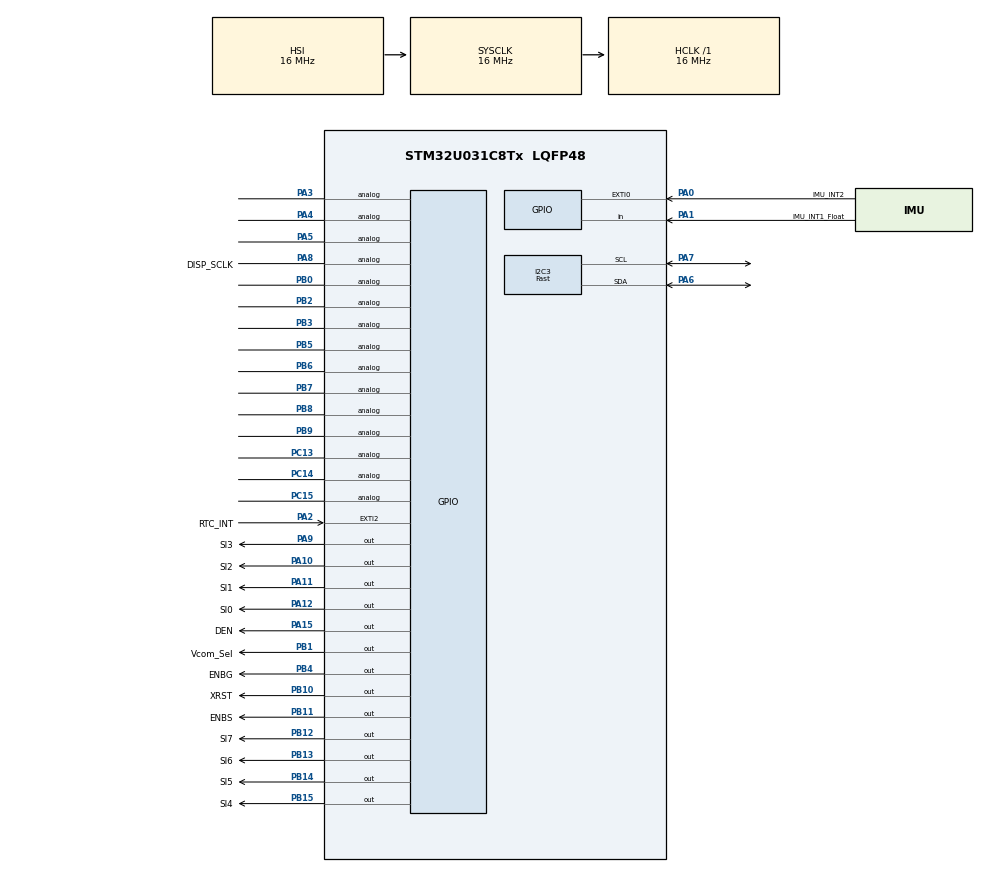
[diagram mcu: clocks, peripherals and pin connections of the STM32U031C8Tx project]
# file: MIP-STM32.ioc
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Dma.I2C3_RX.0.Direction=DMA_PERIPH_TO_MEMORY
Dma.I2C3_RX.0.EventEnable=DISABLE
Dma.I2C3_RX.0.Instance=DMA1_Channel1
Dma.I2C3_RX.0.MemDataAlignment=DMA_MDATAALIGN_BYTE
Dma.I2C3_RX.0.MemInc=DMA_MINC_ENABLE
Dma.I2C3_RX.0.Mode=DMA_NORMAL
Dma.I2C3_RX.0.PeriphDataAlignment=DMA_PDATAALIGN_BYTE
Dma.I2C3_RX.0.PeriphInc=DMA_PINC_DISABLE
Dma.I2C3_RX.0.Polarity=HAL_DMAMUX_REQ_GEN_RISING
Dma.I2C3_RX.0.Priority=DMA_PRIORITY_LOW
Dma.I2C3_RX.0.RequestNumber=1
Dma.I2C3_RX.0.SignalID=NONE
Dma.I2C3_RX.0.SyncEnable=DISABLE
Dma.I2C3_RX.0.SyncPolarity=HAL_DMAMUX_SYNC_NO_EVENT
Dma.I2C3_RX.0.SyncRequestNumber=1
Dma.I2C3_RX.0.SyncSignalID=NONE
Dma.Request0=I2C3_RX
I2C3.I2C_Speed_Mode=I2C_Fast
I2C3.Speed=400
I2C3.Timing=0x0010061A
Mcu.Family=STM32U0
Mcu.Name=STM32U031C8Tx
Mcu.Package=LQFP48
NVIC.DMA1_Channel1_IRQn=true\:0\:0\:false\:false\:true\:false\:true\:true
NVIC.EXTI0_1_IRQn=true\:0\:0\:false\:false\:true\:true\:true\:true
NVIC.EXTI2_3_IRQn=true\:0\:0\:false\:false\:true\:true\:true\:true
NVIC.I2C2_3_IRQn=true\:0\:0\:false\:false\:true\:true\:true\:true
NVIC.PriorityGroup=NVIC_PRIORITYGROUP_2
PA0.GPIO_Label=IMU_INT2
PA0.Signal=GPXTI0
PA1.GPIO_Label=IMU_INT1_Float
PA1.GPIO_PuPd=GPIO_PULLDOWN
PA1.Signal=GPIO_Input
PA10.GPIO_Label=SI2
PA10.Signal=GPIO_Output
PA11\ [PA9].GPIO_Label=SI1
PA11\ [PA9].Signal=GPIO_Output
PA12\ [PA10].GPIO_Label=SI0
PA12\ [PA10].Signal=GPIO_Output
PA13\ (SWDIO).GPIO_Label=DBG_SWDIO
PA13\ (SWDIO).Mode=Serial_Wire
PA13\ (SWDIO).Signal=DEBUG_JTMS-SWDIO
PA14\ (SWCLK).GPIO_Label=DBG_SWCLK
PA14\ (SWCLK).Mode=Serial_Wire
PA14\ (SWCLK).Signal=DEBUG_JTCK-SWCLK
PA15.GPIO_Label=DEN
PA15.Signal=GPIO_Output
PA2.GPIO_Label=RTC_INT
PA2.GPIO_ModeDefaultEXTI=GPIO_MODE_IT_FALLING
PA2.Signal=GPXTI2
PA3.Signal=GPIO_Analog
PA4.Signal=GPIO_Analog
PA5.Signal=GPIO_Analog
PA6.Mode=I2C
PA6.Signal=I2C3_SDA
PA7.Mode=I2C
PA7.Signal=I2C3_SCL
PA8.GPIO_Label=DISP_SCLK
PA8.Signal=GPIO_Analog
PA9.GPIO_Label=SI3
PA9.Signal=GPIO_Output
PB0.Signal=GPIO_Analog
PB1.GPIO_Label=Vcom_Sel
PB1.Signal=GPIO_Output
PB10.GPIO_Label=XRST
PB10.Signal=GPIO_Output
PB11.GPIO_Label=ENBS
PB11.Signal=GPIO_Output
PB12.GPIO_Label=SI7
PB12.Signal=GPIO_Output
PB13.GPIO_Label=SI6
PB13.Signal=GPIO_Output
PB14.GPIO_Label=SI5
PB14.Signal=GPIO_Output
PB15.GPIO_Label=SI4
PB15.Signal=GPIO_Output
PB2.Signal=GPIO_Analog
PB3.Signal=GPIO_Analog
PB4.GPIO_Label=ENBG
PB4.Signal=GPIO_Output
PB5.Signal=GPIO_Analog
PB6.Signal=GPIO_Analog
PB7.Signal=GPIO_Analog
PB8.Signal=GPIO_Analog
PB9.Signal=GPIO_Analog
PC13.Signal=GPIO_Analog
PC14-OSC32_IN.Signal=GPIO_Analog
PC15-OSC32_OUT.Signal=GPIO_Analog
PF0-OSC_IN.Signal=RCC_OSC_IN
PF1-OSC_OUT.Signal=RCC_OSC_OUT
PWR.PowerMode=PWR_SMPS_SUPPLY
ProjectManager.HeapSize=0x200
ProjectManager.StackSize=0x400
ProjectManager.TargetToolchain=STM32CubeIDE
RCC.ADCFreq_Value=16000000
RCC.AHBFreq_Value=16000000
RCC.CortexFreq_Value=16000000
RCC.HCLKFreq_Value=16000000
RCC.HSE_VALUE=16000000
RCC.HSI48_VALUE=48000000
RCC.HSI_VALUE=16000000
RCC.I2C3CLockSelection=RCC_I2C3CLKSOURCE_HSI
RCC.LSE_VALUE=32768
RCC.MSIClockRangeVal=RCC_MSIRANGE_4
RCC.MSI_VALUE=1000000
RCC.PLLN=6
RCC.PLLR=RCC_PLLR_DIV8
RCC.RCC_MCO1Source=RCC_MCO1SOURCE_HSE
RCC.RCC_MCO2Div=RCC_MCO2DIV_32
RCC.SYSCLKFreq_VALUE=16000000
RCC.VCOOutputFreq_Value=96000000
VP_PWR_VS_LPOM.Mode=PowerOptimisation
VP_PWR_VS_SECSignals.Mode=Security/Privilege
board=custom

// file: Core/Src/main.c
/* USER CODE BEGIN Header */
/**
  ******************************************************************************
  * @file           : main.c
  * @brief          : Main program body
  ******************************************************************************
  * @attention
  *
  * Copyright (c) 2025 STMicroelectronics.
  * All rights reserved.
  *
  * This software is licensed under terms that can be found in the LICENSE file
  * in the root directory of this software component.
  * If no LICENSE file comes with this software, it is provided AS-IS.
  *
  ******************************************************************************
  */
/* USER CODE END Header */
#include "main.h"

/* USER CODE BEGIN Includes */
#include "lsm6dsr_reg.h"
#include "max31331_reg.h"

#include <stdio.h>
/* USER CODE END Includes */

I2C_HandleTypeDef hi2c3;
DMA_HandleTypeDef hdma_i2c3_rx;

/* USER CODE BEGIN PV */
/* ============== I2C Variables ============== */
typedef struct {
  I2C_HandleTypeDef *i2c;
  uint16_t addr_8bit;   // 7-bit I2C address (unshifted)
} i2c_dev_t;

static stmdev_ctx_t   s_lsm_ctx;
static max31331_ctx_t s_max_ctx;

static i2c_dev_t g_imu_bus = {
  .i2c = &hi2c3,
  .addr_8bit = (LSM6DSR_I2C_ADD_L)
};

static i2c_dev_t g_rtc_bus = {
  .i2c = &hi2c3,
  .addr_8bit = (MAX31331_I2C_ADD)
};

/* ============== JOB QUEUE VARIABLES ============== */
#define QUEUE_SIZE 16

typedef struct {
    int data[QUEUE_SIZE];
    int front;
    int rear;
    int count;
} JobQueue;

enum JobTypes {
  stepJob = 0,
  tapJob  = 1,
  timeJob = 2
};

volatile JobQueue jobQueue;
volatile uint8_t tapsInQueue = 0;
volatile uint8_t stepsInQueue = 0;
volatile uint8_t timeInQueue = 0;

volatile uint8_t DMArunning = 0;
volatile uint8_t TickDMAflag = 0;
volatile uint8_t TickRXcomp = 0;
volatile uint8_t TapDMAflag = 0;
volatile uint8_t TapRXcomp = 0;
volatile uint8_t StepDMAflag = 0;
volatile uint8_t StepRXcomp = 0;

/* ============== IMU VARIABLES ============== */
// Min # of steps before interrupts
#define STEP_DEBOUNCE_THRESHOLD 8
// DMA RX buffers
uint8_t s_step_rx_buf[2];
uint8_t s_tap_rx_buf[1];
/* Tracked values */
static volatile uint16_t g_step_count = 0;
static volatile uint16_t g_num_taps = 0;

/* ============== RTC VARIABLES ============== */
static uint8_t s_rtc_rx_buf[8];
static uint8_t g_RTC_time[8];

/* ============== Interrupt Setup ============== */
#define IMU_INT1_Pin            GPIO_PIN_1
#define IMU_INT1_GPIO_Port      GPIOA

#define IMU_INT2_Pin 			GPIO_PIN_0
#define IMU_INT2_GPIO_Port 		GPIOA

#define RTC_INT_Pin 			GPIO_PIN_2
#define RTC_INT_GPIO_Port 		GPIOA

#define I2C3_SCL_PIN 			GPIO_PIN_7
#define I2C3_SDA_PIN 			GPIO_PIN_6
#define I2C3_PORT 				GPIOA

static uint8_t inStopMode  = 0;
static uint8_t inSleepMode = 0;
static uint8_t inLPRunMode = 0;
/* USER CODE END PV */

void SystemClock_Config(void);
static void MX_GPIO_Init(void);
static void MX_DMA_Init(void);
static void MX_I2C3_Init(void);
/* USER CODE BEGIN PFP */
/* ============== JOB QUEUE FUNCTIONS ============== */
void initJobQueue(volatile JobQueue *q);
int isJobsEmpty(volatile JobQueue *q);
int isJobsFull(volatile JobQueue *q);
int enqueueJob(volatile JobQueue *q, int value);
int dequeueJob(volatile JobQueue *q, int *value);
static void startJob(int job);
static void processJob(void);
int job = 5;

/* ============== I2C DEVICE FUNCTIONS ============== */
static int32_t platform_write(void *handle, uint8_t reg, const uint8_t *bufp, uint16_t len);
static int32_t platform_read (void *handle, uint8_t reg, uint8_t *bufp, uint16_t len);
static void clear_I2C_bus(void);

/* ============== LP-Run modes ============== */
void Enter_LowPowerRunMode(void);
void Exit_LowPowerRunMode(void);

/* ============== I2C DEVICE INIT FUNCTIONS ============== */
static void LSM6DSR_Init(void);
static void LSM6DSR_Init_Tap_INT2(void);
static void LSM6DSR_Init_Pedo_INT2(void);
static void MAX31331_Init(void);
/* USER CODE END PFP */

int main(void)
{

  /* MCU Configuration--------------------------------------------------------*/

  /* Reset of all peripherals, Initializes the Flash interface and the Systick. */
  HAL_Init();

  /* USER CODE BEGIN Init */
//   reconfigure_interupts(0); // Configure IMU interrupt pins as GPIO outputs set to 0
//   __HAL_RCC_GPIOA_CLK_ENABLE();
  clear_I2C_bus();
  /* USER CODE END Init */

  /* Configure the system clock */
  SystemClock_Config();

  /* Initialize all configured peripherals */
  MX_GPIO_Init();
  MX_DMA_Init();
  MX_I2C3_Init();
  /* USER CODE BEGIN 2 */

  tapsInQueue = 0;
  stepsInQueue = 0;
  timeInQueue = 0;

  DMArunning 	= 0;
  TickDMAflag 	= 0;
  TickRXcomp 	= 0;

  TapDMAflag 	= 0;
  TapRXcomp 	= 0;

  StepDMAflag 	= 0;
  StepRXcomp 	= 0;

  inStopMode  = 0;
  inSleepMode = 0;

  LSM6DSR_Init();
//   reconfigure_interupts(1); // Configure IMU interrupt pins as EXTI

  MAX31331_Init();

  initJobQueue(&jobQueue);

  HAL_Delay(1000); // Prevent immediate stop/sleep mode entry

  Enter_LowPowerRunMode(); // Sets SysClk Source to MSI @ 1MHz
  /* USER CODE END 2 */

  /* Infinite loop */
  while (1)
  {

    /* USER CODE BEGIN 3 */

//    HAL_Delay(1);

    // Parse data from complete jobs
    processJob();

    // If DMA is free and job queue !empty, start job
    if(!DMArunning) {
    	if (dequeueJob(&jobQueue, &job)) { // If job in queue, start it
    		startJob(job);
    	} else {// else job queue is empty, go back to STOP mode while we wait for next interrupt
    		inStopMode = 1;
    		HAL_SuspendTick();
    		HAL_PWREx_EnterSTOP2Mode(PWR_STOPENTRY_WFI);

    		HAL_ResumeTick();
    		inStopMode = 0;
	   }
    } else {// Waiting for DMA to finish, go back to SLEEP mode while we wait for I2C callback
	 	inSleepMode = 1;
	 	HAL_SuspendTick();
	 	HAL_PWR_EnterSLEEPMode(PWR_MAINREGULATOR_ON,PWR_SLEEPENTRY_WFI);

	 	HAL_ResumeTick();
	 	inSleepMode = 0;
	 }
  }
  /* USER CODE END 3 */
}

void SystemClock_Config(void)
{
  RCC_OscInitTypeDef RCC_OscInitStruct = {0};
  RCC_ClkInitTypeDef RCC_ClkInitStruct = {0};

  /** Configure the main internal regulator output voltage
  */
  HAL_PWREx_ControlVoltageScaling(PWR_REGULATOR_VOLTAGE_SCALE2);

  /** Initializes the RCC Oscillators according to the specified parameters
  * in the RCC_OscInitTypeDef structure.
  */
  RCC_OscInitStruct.OscillatorType = RCC_OSCILLATORTYPE_HSI;
  RCC_OscInitStruct.HSIState = RCC_HSI_ON;
  RCC_OscInitStruct.HSICalibrationValue = RCC_HSICALIBRATION_DEFAULT;
  RCC_OscInitStruct.PLL.PLLState = RCC_PLL_NONE;
  if (HAL_RCC_OscConfig(&RCC_OscInitStruct) != HAL_OK)
  {
    Error_Handler();
  }

  /** Initializes the CPU, AHB and APB buses clocks
  */
  RCC_ClkInitStruct.ClockType = RCC_CLOCKTYPE_HCLK|RCC_CLOCKTYPE_SYSCLK
                              |RCC_CLOCKTYPE_PCLK1;
  RCC_ClkInitStruct.SYSCLKSource = RCC_SYSCLKSOURCE_HSI;
  RCC_ClkInitStruct.AHBCLKDivider = RCC_SYSCLK_DIV1;
  RCC_ClkInitStruct.APB1CLKDivider = RCC_HCLK_DIV1;

  if (HAL_RCC_ClockConfig(&RCC_ClkInitStruct, FLASH_LATENCY_1) != HAL_OK)
  {
    Error_Handler();
  }
}

static void MX_I2C3_Init(void)
{

  hi2c3.Instance = I2C3;
  hi2c3.Init.Timing = 0x0010061A;
  hi2c3.Init.OwnAddress1 = 0;
  hi2c3.Init.AddressingMode = I2C_ADDRESSINGMODE_7BIT;
  hi2c3.Init.DualAddressMode = I2C_DUALADDRESS_DISABLE;
  hi2c3.Init.OwnAddress2 = 0;
  hi2c3.Init.OwnAddress2Masks = I2C_OA2_NOMASK;
  hi2c3.Init.GeneralCallMode = I2C_GENERALCALL_DISABLE;
  hi2c3.Init.NoStretchMode = I2C_NOSTRETCH_DISABLE;
  if (HAL_I2C_Init(&hi2c3) != HAL_OK)
  {
    Error_Handler();
  }

  /** Configure Analogue filter
  */
  if (HAL_I2CEx_ConfigAnalogFilter(&hi2c3, I2C_ANALOGFILTER_ENABLE) != HAL_OK)
  {
    Error_Handler();
  }

  /** Configure Digital filter
  */
  if (HAL_I2CEx_ConfigDigitalFilter(&hi2c3, 0) != HAL_OK)
  {
    Error_Handler();
  }

}

static void MX_DMA_Init(void)
{

  /* DMA controller clock enable */
  __HAL_RCC_DMA1_CLK_ENABLE();

  /* DMA interrupt init */
  /* DMA1_Channel1_IRQn interrupt configuration */
  HAL_NVIC_SetPriority(DMA1_Channel1_IRQn, 0, 0);
  HAL_NVIC_EnableIRQ(DMA1_Channel1_IRQn);

}

static void MX_GPIO_Init(void)
{
  GPIO_InitTypeDef GPIO_InitStruct = {0};

  /* GPIO Ports Clock Enable */
  __HAL_RCC_GPIOC_CLK_ENABLE();
  __HAL_RCC_GPIOF_CLK_ENABLE();
  __HAL_RCC_GPIOA_CLK_ENABLE();
  __HAL_RCC_GPIOB_CLK_ENABLE();

  /*Configure GPIO pin Output Level */
  HAL_GPIO_WritePin(GPIOB, Vcom_Sel_Pin|XRST_Pin|ENBS_Pin|SI7_Pin
                          |SI6_Pin|SI5_Pin|SI4_Pin|ENBG_Pin, GPIO_PIN_RESET);

  /*Configure GPIO pin Output Level */
  HAL_GPIO_WritePin(GPIOA, SI3_Pin|SI2_Pin|SI1_Pin|SI0_Pin
                          |DEN_Pin, GPIO_PIN_RESET);

  /*Configure GPIO pins : PC13 PC14 PC15 */
  GPIO_InitStruct.Pin = GPIO_PIN_13|GPIO_PIN_14|GPIO_PIN_15;
  GPIO_InitStruct.Mode = GPIO_MODE_ANALOG;
  GPIO_InitStruct.Pull = GPIO_NOPULL;
  HAL_GPIO_Init(GPIOC, &GPIO_InitStruct);

  /*Configure GPIO pin : IMU_INT2_Pin */
  GPIO_InitStruct.Pin = IMU_INT2_Pin;
  GPIO_InitStruct.Mode = GPIO_MODE_IT_RISING;
  GPIO_InitStruct.Pull = GPIO_NOPULL;
  HAL_GPIO_Init(IMU_INT2_GPIO_Port, &GPIO_InitStruct);

  /*Configure GPIO pin : IMU_INT1_Float_Pin */
  GPIO_InitStruct.Pin = IMU_INT1_Float_Pin;
  GPIO_InitStruct.Mode = GPIO_MODE_INPUT;
  GPIO_InitStruct.Pull = GPIO_PULLDOWN;
  HAL_GPIO_Init(IMU_INT1_Float_GPIO_Port, &GPIO_InitStruct);

  /*Configure GPIO pin : RTC_INT_Pin */
  GPIO_InitStruct.Pin = RTC_INT_Pin;
  GPIO_InitStruct.Mode = GPIO_MODE_IT_FALLING;
  GPIO_InitStruct.Pull = GPIO_NOPULL;
  HAL_GPIO_Init(RTC_INT_GPIO_Port, &GPIO_InitStruct);

  /*Configure GPIO pins : PA3 PA4 PA5 DISP_SCLK_Pin */
  GPIO_InitStruct.Pin = GPIO_PIN_3|GPIO_PIN_4|GPIO_PIN_5|DISP_SCLK_Pin;
  GPIO_InitStruct.Mode = GPIO_MODE_ANALOG;
  GPIO_InitStruct.Pull = GPIO_NOPULL;
  HAL_GPIO_Init(GPIOA, &GPIO_InitStruct);

  /*Configure GPIO pins : PB0 PB2 PB3 PB5
                           PB6 PB7 PB8 PB9 */
  GPIO_InitStruct.Pin = GPIO_PIN_0|GPIO_PIN_2|GPIO_PIN_3|GPIO_PIN_5
                          |GPIO_PIN_6|GPIO_PIN_7|GPIO_PIN_8|GPIO_PIN_9;
  GPIO_InitStruct.Mode = GPIO_MODE_ANALOG;
  GPIO_InitStruct.Pull = GPIO_NOPULL;
  HAL_GPIO_Init(GPIOB, &GPIO_InitStruct);

  /*Configure GPIO pins : Vcom_Sel_Pin XRST_Pin ENBS_Pin SI7_Pin
                           SI6_Pin SI5_Pin SI4_Pin ENBG_Pin */
  GPIO_InitStruct.Pin = Vcom_Sel_Pin|XRST_Pin|ENBS_Pin|SI7_Pin
                          |SI6_Pin|SI5_Pin|SI4_Pin|ENBG_Pin;
  GPIO_InitStruct.Mode = GPIO_MODE_OUTPUT_PP;
  GPIO_InitStruct.Pull = GPIO_NOPULL;
  GPIO_InitStruct.Speed = GPIO_SPEED_FREQ_LOW;
  HAL_GPIO_Init(GPIOB, &GPIO_InitStruct);

  /*Configure GPIO pins : SI3_Pin SI2_Pin SI1_Pin SI0_Pin
                           DEN_Pin */
  GPIO_InitStruct.Pin = SI3_Pin|SI2_Pin|SI1_Pin|SI0_Pin
                          |DEN_Pin;
  GPIO_InitStruct.Mode = GPIO_MODE_OUTPUT_PP;
  GPIO_InitStruct.Pull = GPIO_NOPULL;
  GPIO_InitStruct.Speed = GPIO_SPEED_FREQ_LOW;
  HAL_GPIO_Init(GPIOA, &GPIO_InitStruct);

  /* EXTI interrupt init*/
  HAL_NVIC_SetPriority(EXTI0_1_IRQn, 0, 0);
  HAL_NVIC_EnableIRQ(EXTI0_1_IRQn);

  HAL_NVIC_SetPriority(EXTI2_3_IRQn, 0, 0);
  HAL_NVIC_EnableIRQ(EXTI2_3_IRQn);

}

/* USER CODE BEGIN 4 */
/* ============== JOB QUEUE ============== */
void initJobQueue(volatile JobQueue *q) {
    q->front = 0;
    q->rear = -1;
    q->count = 0;
}

int isJobsEmpty(volatile JobQueue *q) {
    return q->count == 0;
}

int isJobsFull(volatile JobQueue *q) {
    return q->count == QUEUE_SIZE;
}

int enqueueJob(volatile JobQueue *q, int value){
	if (isJobsFull(q)) {
        // printf("Queue is full! Cannot enqueue %d\n", value);
        return 0;
    }

    q->rear = (q->rear + 1) % QUEUE_SIZE;
    q->data[q->rear] = value;
    q->count++;

    return 1;
}

int dequeueJob(volatile JobQueue *q, int *value){
	if (isJobsEmpty(q)) {
        // printf("Queue is empty! Cannot dequeue\n");
        return 0;
    }

    *value = q->data[q->front];
    q->front = (q->front + 1) % QUEUE_SIZE;
    q->count--;

    return 1;
}

// Start DMA read
static void startJob(int job)
{
	lsm6dsr_func_cfg_access_t func_cfg_access = {0};
	switch (job) {
		case stepJob:
      __disable_irq();
			if (stepsInQueue) stepsInQueue--;
      __enable_irq();
			func_cfg_access.reg_access = LSM6DSR_EMBEDDED_FUNC_BANK; // Enable standard register bank
			if (!HAL_I2C_Mem_Write(&hi2c3, LSM6DSR_I2C_ADD_L, LSM6DSR_FUNC_CFG_ACCESS, I2C_MEMADD_SIZE_8BIT, (uint8_t *)&func_cfg_access, 1, 5)) {
				DMArunning = 1;
				StepDMAflag = 1;
				HAL_I2C_Mem_Read_DMA(&hi2c3, LSM6DSR_I2C_ADD_L, LSM6DSR_STEP_COUNTER_L, I2C_MEMADD_SIZE_8BIT, s_step_rx_buf, 2);
			}
			break;
		case tapJob:
			__disable_irq();
      if (tapsInQueue) tapsInQueue--;
      __enable_irq();
			func_cfg_access.reg_access = LSM6DSR_USER_BANK; // Enable standard register bank
			if(!HAL_I2C_Mem_Write(&hi2c3, LSM6DSR_I2C_ADD_L, LSM6DSR_FUNC_CFG_ACCESS, I2C_MEMADD_SIZE_8BIT, (uint8_t *)&func_cfg_access, 1, 5)) {
				DMArunning = 1;
				TapDMAflag = 1;
				HAL_I2C_Mem_Read_DMA(&hi2c3, LSM6DSR_I2C_ADD_L, LSM6DSR_TAP_SRC, I2C_MEMADD_SIZE_8BIT, s_tap_rx_buf, 1);
			}
			break;
		case timeJob:
			__disable_irq();
			if (timeInQueue) timeInQueue--;
      __enable_irq();
			uint8_t status;
			max31331_get_status(&s_max_ctx, &status); // Clears interrupt
			DMArunning = 1;
			TickDMAflag = 1;
			HAL_I2C_Mem_Read_DMA(&hi2c3, MAX31331_I2C_ADD, MAX31331_SECONDS_1_128, I2C_MEMADD_SIZE_8BIT, s_rtc_rx_buf, 8); // Read sec_128 to year in one go
			break;
		default:
			break;
		// DMA started, we can go to sleep while we wait for I2C callback
	}
}

// Process DMA data
static void processJob(void) {
	if (TickRXcomp) { // Update Time
		uint8_t s128 = s_rtc_rx_buf[0]; // Unused for now
		uint8_t s  	 = bin2dec_bcd(s_rtc_rx_buf[1] & MAX31331_SECONDS_MSK);
		uint8_t m  	 = bin2dec_bcd(s_rtc_rx_buf[2] & MAX31331_MINUTES_MSK);
		uint8_t h  	 = s_rtc_rx_buf[3];

		uint8_t format  = (h & MAX31331_TS_F24_12_MSK) >> MAX31331_TS_F24_12_POS;

		int hour;

		if (format == HOUR24) {
			hour = ((h & MAX31331_HOURS_HOUR_MSK) 		>> MAX31331_HOURS_HOUR_POS) +
				   (((h & MAX31331_HOURS_HR10_MSK) 		>> MAX31331_HOURS_HR10_POS) * 10) +
				   (((h & MAX31331_HOURS_HR20_AMPM_MSK) >> MAX31331_HOURS_HR20_AMPM_POS) * 20);
		} else {
			uint8_t h12 = ((h & MAX31331_HOURS_HR10_MSK) >> MAX31331_HOURS_HR10_POS) * 10
						+ ((h & MAX31331_HOURS_HOUR_MSK) >> MAX31331_HOURS_HOUR_POS);
			uint8_t am_pm = (h & MAX31331_HOURS_HR20_AMPM_MSK) >> MAX31331_HOURS_HR20_AMPM_POS;
			if (am_pm == AM) {          // AM
				hour = (h12 == 12) ? 0 : h12;
			} else {                    // PM
				hour = (h12 == 12) ? 12 : h12 + 12;
			}
		}

		uint8_t dy 	 = s_rtc_rx_buf[4] & MAX31331_DAY_MSK;
		uint8_t dt 	 = bin2dec_bcd(s_rtc_rx_buf[5] & MAX31331_DATE_MSK);
		uint8_t mn 	 = bin2dec_bcd(s_rtc_rx_buf[6] & MAX31331_MONTH_MSK);
		uint8_t yr 	 = bin2dec_bcd(s_rtc_rx_buf[7] & MAX31331_YEAR_MSK);

		g_RTC_time[0] = s128;
		g_RTC_time[1] = s;
		g_RTC_time[2] = m;
		g_RTC_time[3] = hour;
		g_RTC_time[4] = dy;
		g_RTC_time[5] = dt;
		g_RTC_time[6] = mn;
		g_RTC_time[7] = yr;
		uint8_t status;
		max31331_get_status(&s_max_ctx, &status); // Clears interrupt

		TickRXcomp = 0;
	} else if (TapRXcomp) { // Handle Tap/DoubleTap
		lsm6dsr_tap_src_t *tap_data = (lsm6dsr_tap_src_t *)s_tap_rx_buf;
		if (tap_data->double_tap) {
			g_num_taps = 2;
		} else if (tap_data->single_tap) {
			g_num_taps = 1;
		} else {
			g_num_taps = 0;
		}

		TapRXcomp = 0;
	} else if (StepRXcomp) { // Update Step Count
		g_step_count = (uint16_t)s_step_rx_buf[1] << 8 | (uint16_t)s_step_rx_buf[0];
		StepRXcomp = 0;

	}
}

/* ============== I2C Device Initialization ============== */
static void clear_I2C_bus(void) {
	GPIO_InitTypeDef GPIO_InitStruct = {0};

    // Configure SCL/SDA as open-drain outputs
    GPIO_InitStruct.Pin = I2C3_SCL_PIN | I2C3_SDA_PIN;
    GPIO_InitStruct.Mode = GPIO_MODE_OUTPUT_OD;
    GPIO_InitStruct.Pull = GPIO_NOPULL;
    GPIO_InitStruct.Speed = GPIO_SPEED_FREQ_HIGH;
    HAL_GPIO_Init(I2C3_PORT, &GPIO_InitStruct);

    // Release both lines
    HAL_GPIO_WritePin(I2C3_PORT, I2C3_SDA_PIN | I2C3_SCL_PIN, GPIO_PIN_SET);
    HAL_Delay(1);

    // Toggle SCL while SDA is low
    for (int i = 0; i < 9 && HAL_GPIO_ReadPin(I2C3_PORT, I2C3_SDA_PIN) == GPIO_PIN_RESET; i++) {
        HAL_GPIO_WritePin(I2C3_PORT, I2C3_SCL_PIN, GPIO_PIN_SET);
        HAL_Delay(1); // 1 ms, can reduce to 5-10 us
        HAL_GPIO_WritePin(I2C3_PORT, I2C3_SCL_PIN, GPIO_PIN_RESET);
        HAL_Delay(1);
    }

    // Generate STOP condition
    HAL_GPIO_WritePin(I2C3_PORT, I2C3_SDA_PIN, GPIO_PIN_RESET);
    HAL_GPIO_WritePin(I2C3_PORT, I2C3_SCL_PIN, GPIO_PIN_SET);
    HAL_GPIO_WritePin(I2C3_PORT, I2C3_SDA_PIN, GPIO_PIN_SET);

    HAL_GPIO_DeInit(I2C3_PORT, I2C3_SCL_PIN | I2C3_SDA_PIN); // Return pins to default state
}

static void LSM6DSR_Init(void) {
	uint8_t rst = 1;
	uint8_t who = 0;

	// Platform initialization
	s_lsm_ctx.write_reg = platform_write;
	s_lsm_ctx.read_reg  = platform_read;
	s_lsm_ctx.mdelay    = HAL_Delay;
	s_lsm_ctx.handle    = &g_imu_bus;

	HAL_Delay(100); // Initial power-on delay

	// Perform software reset with proper timing
	do {
		if (lsm6dsr_reset_set(&s_lsm_ctx, 1) != 0) {
			Error_Handler();
		}
		HAL_Delay(50); // Extended delay for reset completion
	} while (lsm6dsr_reset_get(&s_lsm_ctx, &rst) != 0 || rst != 0);

	// Verify device ID with retries
	for (int attempt = 0; attempt < 10; attempt++) {
		if (lsm6dsr_device_id_get(&s_lsm_ctx, &who) == 0 && who == LSM6DSR_ID) {
			break;
		}
		HAL_Delay(20);
	}

	if (who != LSM6DSR_ID) {
		Error_Handler();
	}

	// Disable I3C interface
	if (lsm6dsr_i3c_disable_set(&s_lsm_ctx, LSM6DSR_I3C_DISABLE) != 0) {
		Error_Handler();
	}

	/* Disable I3C (Mode 1: IMU is I2C slave) */
	lsm6dsr_i3c_disable_set(&s_lsm_ctx, LSM6DSR_I3C_DISABLE);

	/* Put gyroscope into power-down */
	lsm6dsr_gy_data_rate_set(&s_lsm_ctx, LSM6DSR_GY_ODR_OFF);
	/* Gryo power mode should be irrelevant (set to normal for safe default) */
	lsm6dsr_gy_power_mode_set(&s_lsm_ctx, LSM6DSR_GY_NORMAL);
	/* BDU: Blocks of registers can't be updated mid-read */
	lsm6dsr_block_data_update_set(&s_lsm_ctx, 1);

	LSM6DSR_Init_Pedo_INT2();
	/* TAP detection overrides ODR to 416Hz, setting accel to high power mode */
	// LSM6DSR_Init_Tap_INT2();

	/* Configure pin mode/polarity */
	lsm6dsr_pin_mode_set(&s_lsm_ctx, LSM6DSR_PUSH_PULL);
	lsm6dsr_pin_polarity_set(&s_lsm_ctx, LSM6DSR_ACTIVE_HIGH);
	lsm6dsr_int_notification_set(&s_lsm_ctx, LSM6DSR_ALL_INT_PULSED);

}

// Pedometer Config based on Application Note 5358
static void LSM6DSR_Init_Pedo_INT2(void) {
	/* Pedometer works at accelerometer 2g Full Scale (STMicroelectronics/lsm6dsr-pid) */
	lsm6dsr_xl_full_scale_set(&s_lsm_ctx, LSM6DSR_4g);
	/* 6.1 Pedometer functions: ODR >= 26Hz for step counter*/
	lsm6dsr_xl_data_rate_set(&s_lsm_ctx, LSM6DSR_XL_ODR_26Hz);
	/* Low power mode works @ ODR <= 26Hz*/
	lsm6dsr_xl_power_mode_set(&s_lsm_ctx, LSM6DSR_LOW_NORMAL_POWER_MD);

	/* Enable pedometer with false-step rejection */
	lsm6dsr_pedo_sens_set(&s_lsm_ctx, PROPERTY_ENABLE);
	lsm6dsr_pedo_mode_set(&s_lsm_ctx, LSM6DSR_PEDO_ADV_FALSE_STEP_REJ);
	lsm6dsr_pedo_int_mode_set(&s_lsm_ctx, LSM6DSR_EVERY_STEP);
	lsm6dsr_steps_reset(&s_lsm_ctx);
	uint8_t debounce = STEP_DEBOUNCE_THRESHOLD;
	lsm6dsr_pedo_debounce_steps_set(&s_lsm_ctx, &debounce);

	/* Route Step Detector interrupt to INT1 */
	lsm6dsr_pin_int2_route_t int2_route;
	lsm6dsr_pin_int2_route_get(&s_lsm_ctx, &int2_route);
	int2_route.emb_func_int2.int2_step_detector = 1;
	lsm6dsr_pin_int2_route_set(&s_lsm_ctx, &int2_route);
}

// Tap Detection Config based on Application Note 5358
static void LSM6DSR_Init_Tap_INT2(void) {
	/* Accelerometer works at accelerometer 2g Full Scale*/
	lsm6dsr_xl_full_scale_set(&s_lsm_ctx, LSM6DSR_2g);
	/* 5.5 Single-tap and double-tap recognition: ODR >= 416Hz for tap detection*/
	lsm6dsr_xl_data_rate_set(&s_lsm_ctx, LSM6DSR_XL_ODR_416Hz);

	/* Enable tap detection on all axes */
	lsm6dsr_tap_detection_on_x_set(&s_lsm_ctx, 1);
	lsm6dsr_tap_detection_on_y_set(&s_lsm_ctx, 1);
	lsm6dsr_tap_detection_on_z_set(&s_lsm_ctx, 1);

	/* Use slope on internal path (recommended for taps) */
	lsm6dsr_xl_hp_path_internal_set(&s_lsm_ctx, LSM6DSR_USE_SLOPE);

	/* Thresholds: 0x0C -> ~0.75 g at FS=±2 g */
	lsm6dsr_tap_threshold_x_set(&s_lsm_ctx, 0x0C);
	lsm6dsr_tap_threshold_y_set(&s_lsm_ctx, 0x0C);
	lsm6dsr_tap_threshold_z_set(&s_lsm_ctx, 0x0C);

	/* Axis priority X->Y->Z */
	lsm6dsr_tap_axis_priority_set(&s_lsm_ctx, LSM6DSR_XYZ);

	/* Time windows at ODR_XL=416 Hz (approx):
	SHOCK=3 (~57.7 ms), QUIET=3 (~28.8 ms), DUR=7 (~538.5 ms) */
	lsm6dsr_tap_shock_set(&s_lsm_ctx, 0x03);
	lsm6dsr_tap_quiet_set(&s_lsm_ctx, 0x03);
	lsm6dsr_tap_dur_set(&s_lsm_ctx, 0x07);

	/* Enable both single & double tap recognition */
	lsm6dsr_tap_mode_set(&s_lsm_ctx, LSM6DSR_BOTH_SINGLE_DOUBLE);

	/* Route interrupts to INT2 */
	lsm6dsr_pin_int2_route_t int2_route;
	lsm6dsr_pin_int2_route_get(&s_lsm_ctx, &int2_route);
	int2_route.md2_cfg.int2_single_tap = 1;
	int2_route.md2_cfg.int2_double_tap = 1;
	lsm6dsr_pin_int2_route_set(&s_lsm_ctx, &int2_route);
}

static void MAX31331_Init(void) {
	uint8_t seconds = 0;
	uint8_t minutes = 0;
	uint8_t hours   = 14;  // Example: 2PM
	uint8_t day     = 3;   // WEDNESDAY
	uint8_t date    = 27;  // 27th
	uint8_t month   = 8;   // January
	uint8_t year    = 25;  // Year = 2025 (last two digits)
	uint8_t century = 0;   // 0 = 21st century, 1 = 22nd century

	s_max_ctx.write_reg = platform_write;
	s_max_ctx.read_reg  = platform_read;
	s_max_ctx.mdelay    = HAL_Delay;
	s_max_ctx.handle    = &g_rtc_bus;

	HAL_Delay(20);

	max31331_reset_rtc(&s_max_ctx);
	HAL_Delay(5);

	max31331_set_time(&s_max_ctx, seconds, minutes, hours);
	seconds 	= 0xFF;
	minutes 	= 0xFF;
	hours   	= 0xFF;
	uint8_t format 	= 0xFF;
	HAL_Delay(5);

	max31331_get_time(&s_max_ctx, &seconds, &minutes, &hours, &format);
	HAL_Delay(5);

	max31331_set_date(&s_max_ctx, day, date, month, century, year);
	day     = 0xFF;
	date    = 0xFF;
	month   = 0xFF;
	year    = 0xFF;
	century = 0xFF;
	HAL_Delay(5);

	max31331_get_date(&s_max_ctx, &day, &date, &month, &century, &year);
	HAL_Delay(5);

	// Enable 1hz clko for display
	// max31331_set_clko(&s_max_ctx, 1, CLKO_1Hz);
	// HAL_Delay(5);

	max31331_set_timer_config(&s_max_ctx, 0, 0, 1, TIMER_16Hz); // Disable timer and "resume" to change init
	HAL_Delay(5);
	max31331_set_timer_init(&s_max_ctx, 16);                   	// Update init to get interrupts every 16 ticks
	HAL_Delay(5);
	max31331_set_timer_config(&s_max_ctx, 1, 0, 1, TIMER_16Hz); // 16hz timer every 16 ticks => 1hz interrupt
	HAL_Delay(5);

	max31331_set_int_en(&s_max_ctx, 0, 0, 0, 0, 1, 0, 0);      // Enable timer interrupt only
	uint8_t int_en = 0xFF;
	HAL_Delay(5);
	max31331_get_int_en(&s_max_ctx, &int_en);
	HAL_Delay(5);
	uint8_t rtc_status = 0xFF;
	max31331_get_status(&s_max_ctx, &rtc_status);
	HAL_Delay(5);
}

/* ============== LP-Run modes ============== */
void Enter_LowPowerRunMode(void)
{
    RCC_OscInitTypeDef RCC_OscInitStruct = {0};
    RCC_ClkInitTypeDef RCC_ClkInitStruct = {0};

    // Step 1: Switch to MSI
    RCC_OscInitStruct.OscillatorType = RCC_OSCILLATORTYPE_MSI;
    RCC_OscInitStruct.MSIState = RCC_MSI_ON;
    RCC_OscInitStruct.MSICalibrationValue = 0;
    RCC_OscInitStruct.MSIClockRange = RCC_MSIRANGE_4;
    RCC_OscInitStruct.PLL.PLLState = RCC_PLL_NONE;
    if (HAL_RCC_OscConfig(&RCC_OscInitStruct) != HAL_OK) {
        Error_Handler();
    }

    RCC_ClkInitStruct.ClockType      = RCC_CLOCKTYPE_HCLK |
                                       RCC_CLOCKTYPE_SYSCLK |
                                       RCC_CLOCKTYPE_PCLK1;
    RCC_ClkInitStruct.SYSCLKSource   = RCC_SYSCLKSOURCE_MSI;
    RCC_ClkInitStruct.AHBCLKDivider  = RCC_SYSCLK_DIV1;
    RCC_ClkInitStruct.APB1CLKDivider = RCC_HCLK_DIV1;

    if (HAL_RCC_ClockConfig(&RCC_ClkInitStruct, FLASH_LATENCY_0) != HAL_OK) {
        Error_Handler();
    }

    // Step 2: Enable Low Power Run Mode
    HAL_PWREx_EnableLowPowerRunMode();
    inLPRunMode = 1;
}

void Exit_LowPowerRunMode(void)
{
    RCC_OscInitTypeDef RCC_OscInitStruct = {0};
    RCC_ClkInitTypeDef RCC_ClkInitStruct = {0};
    uint32_t flashLatency = FLASH_LATENCY_0;

    // Step 1: Disable Low Power Run Mode
    HAL_PWREx_DisableLowPowerRunMode();
    inLPRunMode = 0;

    // Step 2: Switch back to HSI 16 MHz
    RCC_OscInitStruct.OscillatorType = RCC_OSCILLATORTYPE_HSI;
    RCC_OscInitStruct.HSIState = RCC_HSI_ON;
    RCC_OscInitStruct.HSICalibrationValue = RCC_HSICALIBRATION_DEFAULT;
    if (HAL_RCC_OscConfig(&RCC_OscInitStruct) != HAL_OK) {
        Error_Handler();
    }

    // Decide FLASH latency based on current VOS
    switch (HAL_PWREx_GetVoltageRange()) {
        case PWR_REGULATOR_VOLTAGE_SCALE1:
            flashLatency = FLASH_LATENCY_0;  // up to 16 MHz
            break;
        case PWR_REGULATOR_VOLTAGE_SCALE2:
            flashLatency = FLASH_LATENCY_1;  // 16 MHz needs 1 WS
            break;
        default:
            Error_Handler();  // not valid for 16 MHz
            break;
    }

    // Switch SYSCLK back to HSI
    RCC_ClkInitStruct.ClockType      = RCC_CLOCKTYPE_HCLK |
                                       RCC_CLOCKTYPE_SYSCLK |
                                       RCC_CLOCKTYPE_PCLK1;
    RCC_ClkInitStruct.SYSCLKSource   = RCC_SYSCLKSOURCE_HSI;
    RCC_ClkInitStruct.AHBCLKDivider  = RCC_SYSCLK_DIV1;
    RCC_ClkInitStruct.APB1CLKDivider = RCC_HCLK_DIV1;

    if (HAL_RCC_ClockConfig(&RCC_ClkInitStruct, flashLatency) != HAL_OK) {
        Error_Handler();
    }
}

/* ============== EXTI IRQ Handler ============== */
void HAL_GPIO_EXTI_Falling_Callback(uint16_t GPIO_Pin) {
	if (GPIO_Pin == RTC_INT_Pin) {
		if (timeInQueue < 2) {
			if (enqueueJob(&jobQueue, timeJob)) {
				timeInQueue++;
			}
		}
	}
}

void HAL_GPIO_EXTI_Rising_Callback(uint16_t GPIO_Pin) {
	if (GPIO_Pin == IMU_INT2_Pin) {
		if (stepsInQueue < 2) {
			if (enqueueJob(&jobQueue, stepJob)) {
				stepsInQueue++;
			}
		}
	}
	if (GPIO_Pin == IMU_INT1_Pin) { // INT 1 is disabled for now
		if (tapsInQueue < 2) {
			if (enqueueJob(&jobQueue, tapJob)) {
				tapsInQueue++;
			}
		}
	}
}

void HAL_I2C_MemRxCpltCallback(I2C_HandleTypeDef *hi2c)
{
	if(hi2c == &hi2c3) {
		if (TickDMAflag) {
			TickDMAflag = 0;
			TickRXcomp = 1;
		} else if (TapDMAflag) {
			TapDMAflag = 0;
			TapRXcomp = 1;
		} else if (StepDMAflag) {
			StepDMAflag = 0;
			StepRXcomp = 1;
		}
  }
	DMArunning = 0;
}

/* ============== Platform Specific Read/Write ============== */
static int32_t platform_write(void *handle, uint8_t reg, const uint8_t *bufp, uint16_t len)
{
	i2c_dev_t *dev = (i2c_dev_t *)handle;
	if (HAL_I2C_Mem_Write(dev->i2c, (dev->addr_8bit), reg,
							I2C_MEMADD_SIZE_8BIT, (uint8_t*)bufp, len, 100) != HAL_OK)
		return -1;
	return 0;
}

static int32_t platform_read(void *handle, uint8_t reg, uint8_t *bufp, uint16_t len)
{
	i2c_dev_t *dev = (i2c_dev_t *)handle;
	if (HAL_I2C_Mem_Read(dev->i2c, (dev->addr_8bit), reg,
							I2C_MEMADD_SIZE_8BIT, bufp, len, 100) != HAL_OK)
	return -1;
	return 0;
}

/* USER CODE END 4 */

void Error_Handler(void)
{
  __disable_irq();
  while (1)
  {
  }
}
